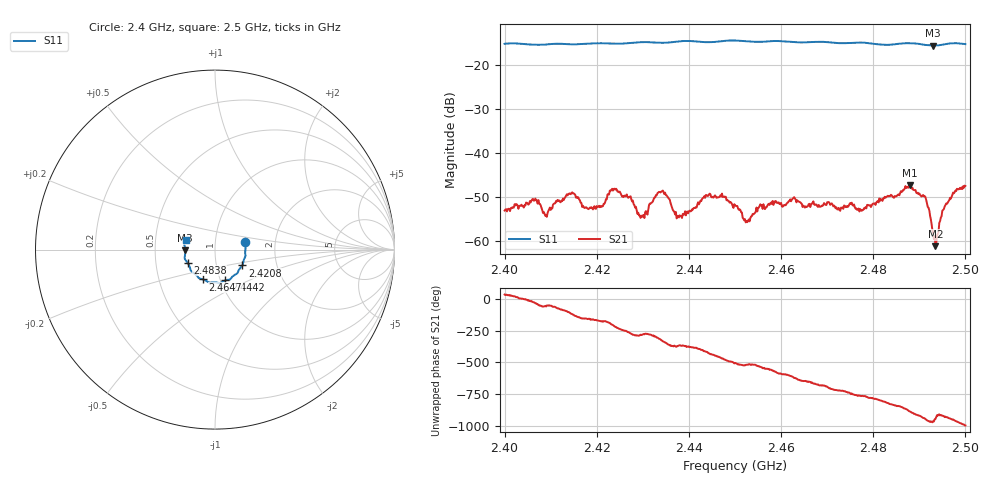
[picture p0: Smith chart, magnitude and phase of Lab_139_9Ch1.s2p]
# Hz S RI R 50
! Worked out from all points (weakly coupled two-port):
!   601 points, 2.4 GHz to 2.5 GHz, reference 50 ohm
!   highest |S21| = -47.38 dB at 2.488 GHz (marker M1); lowest = -61.2 dB at 2.4935 GHz (marker M2)
!   lowest |S11| = -15.6 dB at 2.493 GHz (marker M3), VSWR 1.40, Z = 35.8 - j0.266 ohm
!   |S11| at or under -10 dB: start of sweep to end of sweep
!   S12 and S22 are empty: the file has one direction only
!   S11 on the Smith chart (normalised r, x): 2.4 GHz: 1.40, +0.12; 2.4208 GHz: 1.33, -0.24; 2.4442 GHz: 1.05, -0.37; 2.4647 GHz: 0.83, -0.29; 2.4838 GHz: 0.73, -0.11; 2.5 GHz: 0.71, +0.08
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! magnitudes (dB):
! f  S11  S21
! 2.4 GHz  -15.2  -53.1
! 2.4145 GHz  -15.4  -49.2
! 2.4167 GHz  -15.3  -51.4
! 2.4208 GHz  -15.1  -52.1
! 2.4238 GHz  -15.2  -48.2
! 2.4298 GHz  -14.9  -54.3
! 2.4333 GHz  -15.0  -49.1
! 2.4378 GHz  -14.7  -54.7
! 2.4442 GHz  -14.9  -49.8
! 2.45 GHz  -14.5  -51.9
! 2.4527 GHz  -14.7  -55.8
! 2.4647 GHz  -14.9  -52.3
! 2.4667 GHz  -14.8  -51.5
! 2.4775 GHz  -14.9  -53.2
! 2.4833 GHz  -15.5  -49.9
! 2.4838 GHz  -15.4  -49.6
! 2.488 GHz  -15.1  -47.4
! 2.4912 GHz  -15.5  -49.9
! 2.493 GHz  -15.6  -58.2
! 2.4935 GHz  -15.6  -61.2
! 2.4955 GHz  -15.3  -52.2
! 2.5 GHz  -15.3  -47.5
